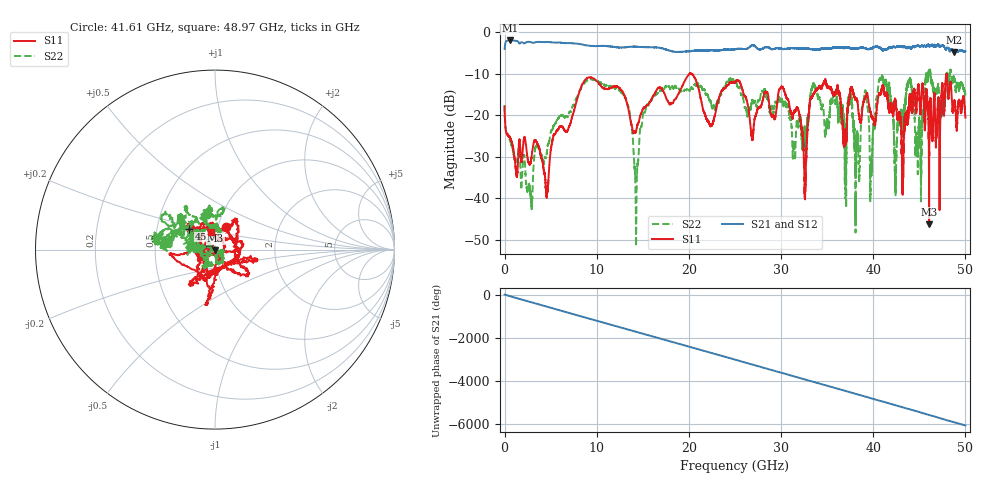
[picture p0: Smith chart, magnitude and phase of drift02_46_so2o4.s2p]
!Created with skrf (http://scikit-rf.org).
# Hz S RI R 50.0
!freq ReS11 ImS11 ReS21 ImS21 ReS12 ImS12 ReS22 ImS22
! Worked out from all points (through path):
!   10001 points, 300 kHz to 50 GHz, reference 50 ohm
!   highest |S21| = -2.00 dB at 555.3 MHz (marker M1); lowest = -4.8 dB at 48.77 GHz (marker M2)
!   group delay of S21, straight-line fit = 337 ps
!   lowest |S11| = -46.2 dB at 46.07 GHz (marker M3), VSWR 1.01, Z = 50.2 - j0.428 ohm
!   |S11| at or under -10 dB: start of sweep to 20.06 GHz; 20.20754 GHz to 20.2214 GHz (13.85 MHz wide, 0.0685 % of centre); 20.24 GHz to end of sweep (the widest 3 of 5)
!   |S22| runs from -51.5 to -8.9 dB; largest |S21 - S12| = 0.03
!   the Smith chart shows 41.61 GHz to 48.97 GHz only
!   S11 on the Smith chart (normalised r, x): 41.61 GHz: 1.10, +0.28; 45.8 GHz: 0.73, +0.18; 48.97 GHz: 0.94, +0.18
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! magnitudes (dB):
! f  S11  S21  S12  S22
! 300 kHz  -17.9  -4.0  -4.0  -17.6
! 555.3 MHz  -25.2  -2.0  -2.0  -25.9
! 4.565 GHz  -39.8  -2.4  -2.4  -29.4
! 8.335 GHz  -13.0  -2.9  -2.9  -13.2
! 13 GHz  -15.3  -3.7  -3.7  -15.6
! 14.28 GHz  -23.7  -3.5  -3.5  -49.2
! 16.67 GHz  -13.3  -3.7  -3.7  -14.5
! 25 GHz  -12.1  -4.1  -4.1  -12.1
! 26.86 GHz  -25.7  -3.1  -3.1  -16.5
! 30.18 GHz  -13.3  -4.1  -4.1  -16.7
! 32.57 GHz  -37.3  -3.9  -4.0  -24.4
! 33.34 GHz  -15.8  -4.1  -4.1  -13.5
! 37.49 GHz  -14.6  -3.8  -3.8  -16.1
! 38.29 GHz  -16.9  -3.9  -3.9  -23.9
! 41.61 GHz  -17.1  -3.9  -4.0  -13.9
! 41.67 GHz  -18.3  -3.8  -3.9  -12.6
! 44.99 GHz  -14.3  -3.3  -3.3  -21.4
! 45.8 GHz  -14.7  -3.3  -3.2  -10.5
! 46.07 GHz  -46.2  -3.4  -3.4  -10.2
! 48.77 GHz  -17.0  -4.8  -4.8  -10.8
! 48.97 GHz  -20.1  -4.3  -4.4  -14.0
! 50 GHz  -20.6  -4.6  -4.6  -15.3
